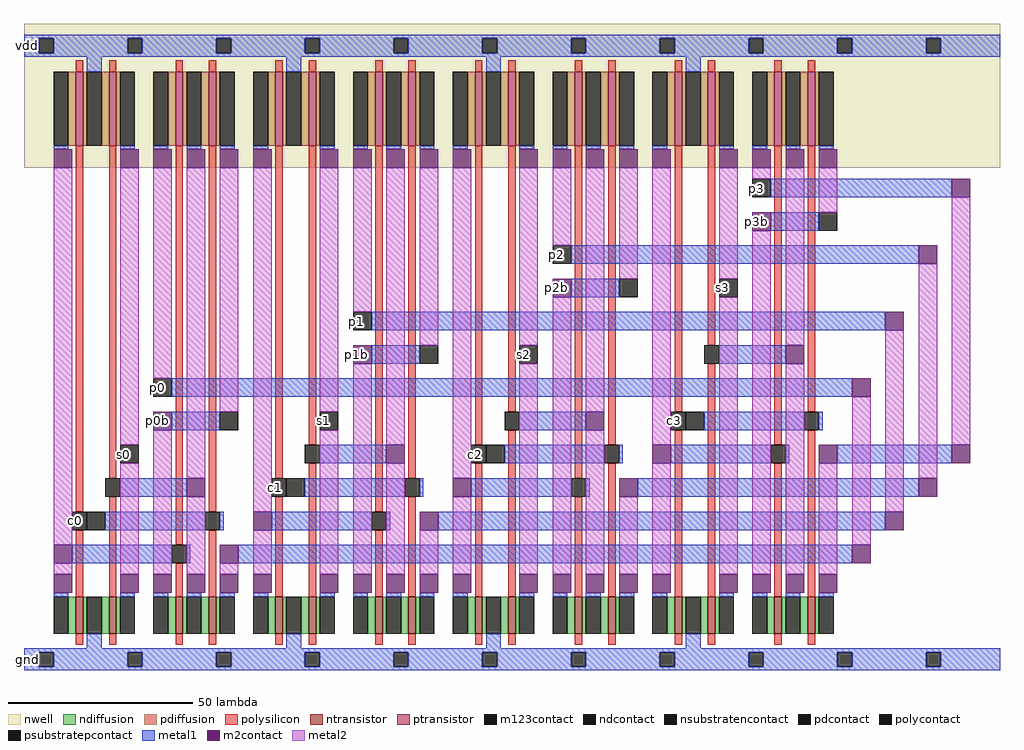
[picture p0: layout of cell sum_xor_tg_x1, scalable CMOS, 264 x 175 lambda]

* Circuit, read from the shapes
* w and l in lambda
.subckt sum_xor_tg_x1 c0 c1 c2 c3 p0 p0b p1 p1b p2 p2b p3 p3b s0 s1 s2 s3 vdd gnd
M1 gnd c0 n1 gnd nfet w=10 l=2
M2 s0 n2 gnd gnd nfet w=10 l=2
M3 n2 n1 p0b gnd nfet w=10 l=2
M4 p0 c0 n2 gnd nfet w=10 l=2
M5 gnd c1 n3 gnd nfet w=10 l=2
M6 s1 n4 gnd gnd nfet w=10 l=2
M7 n4 n3 p1b gnd nfet w=10 l=2
M8 p1 c1 n4 gnd nfet w=10 l=2
M9 gnd c2 n5 gnd nfet w=10 l=2
M10 s2 n6 gnd gnd nfet w=10 l=2
M11 n6 n5 p2b gnd nfet w=10 l=2
M12 p2 c2 n6 gnd nfet w=10 l=2
M13 gnd c3 n7 gnd nfet w=10 l=2
M14 s3 n8 gnd gnd nfet w=10 l=2
M15 n8 n7 p3b gnd nfet w=10 l=2
M16 p3 c3 n8 gnd nfet w=10 l=2
M17 vdd c0 n1 vdd pfet w=20 l=2
M18 s0 n2 vdd vdd pfet w=20 l=2
M19 n2 n1 p0 vdd pfet w=20 l=2
M20 p0b c0 n2 vdd pfet w=20 l=2
M21 vdd c1 n3 vdd pfet w=20 l=2
M22 s1 n4 vdd vdd pfet w=20 l=2
M23 n4 n3 p1 vdd pfet w=20 l=2
M24 p1b c1 n4 vdd pfet w=20 l=2
M25 vdd c2 n5 vdd pfet w=20 l=2
M26 s2 n6 vdd vdd pfet w=20 l=2
M27 n6 n5 p2 vdd pfet w=20 l=2
M28 p2b c2 n6 vdd pfet w=20 l=2
M29 vdd c3 n7 vdd pfet w=20 l=2
M30 s3 n8 vdd vdd pfet w=20 l=2
M31 n8 n7 p3 vdd pfet w=20 l=2
M32 p3b c3 n8 vdd pfet w=20 l=2
.ends

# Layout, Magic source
magic
tech scmos
<< nwell >>
rect 0 136 264 175
<< ntransistor >>
rect 14 10 16 20
rect 23 10 25 20
rect 41 10 43 20
rect 50 10 52 20
rect 68 10 70 20
rect 77 10 79 20
rect 95 10 97 20
rect 104 10 106 20
rect 122 10 124 20
rect 131 10 133 20
rect 149 10 151 20
rect 158 10 160 20
rect 176 10 178 20
rect 185 10 187 20
rect 203 10 205 20
rect 212 10 214 20
<< ptransistor >>
rect 14 142 16 162
rect 23 142 25 162
rect 41 142 43 162
rect 50 142 52 162
rect 68 142 70 162
rect 77 142 79 162
rect 95 142 97 162
rect 104 142 106 162
rect 122 142 124 162
rect 131 142 133 162
rect 149 142 151 162
rect 158 142 160 162
rect 176 142 178 162
rect 185 142 187 162
rect 203 142 205 162
rect 212 142 214 162
<< ndiffusion >>
rect 12 10 14 20
rect 16 10 17 20
rect 21 10 23 20
rect 25 10 26 20
rect 39 10 41 20
rect 43 10 44 20
rect 48 10 50 20
rect 52 10 53 20
rect 66 10 68 20
rect 70 10 71 20
rect 75 10 77 20
rect 79 10 80 20
rect 93 10 95 20
rect 97 10 98 20
rect 102 10 104 20
rect 106 10 107 20
rect 120 10 122 20
rect 124 10 125 20
rect 129 10 131 20
rect 133 10 134 20
rect 147 10 149 20
rect 151 10 152 20
rect 156 10 158 20
rect 160 10 161 20
rect 174 10 176 20
rect 178 10 179 20
rect 183 10 185 20
rect 187 10 188 20
rect 201 10 203 20
rect 205 10 206 20
rect 210 10 212 20
rect 214 10 215 20
<< pdiffusion >>
rect 12 142 14 162
rect 16 142 17 162
rect 21 142 23 162
rect 25 142 26 162
rect 39 142 41 162
rect 43 142 44 162
rect 48 142 50 162
rect 52 142 53 162
rect 66 142 68 162
rect 70 142 71 162
rect 75 142 77 162
rect 79 142 80 162
rect 93 142 95 162
rect 97 142 98 162
rect 102 142 104 162
rect 106 142 107 162
rect 120 142 122 162
rect 124 142 125 162
rect 129 142 131 162
rect 133 142 134 162
rect 147 142 149 162
rect 151 142 152 162
rect 156 142 158 162
rect 160 142 161 162
rect 174 142 176 162
rect 178 142 179 162
rect 183 142 185 162
rect 187 142 188 162
rect 201 142 203 162
rect 205 142 206 162
rect 210 142 212 162
rect 214 142 215 162
<< ndcontact >>
rect 8 10 12 20
rect 17 10 21 20
rect 26 10 30 20
rect 35 10 39 20
rect 44 10 48 20
rect 53 10 57 20
rect 62 10 66 20
rect 71 10 75 20
rect 80 10 84 20
rect 89 10 93 20
rect 98 10 102 20
rect 107 10 111 20
rect 116 10 120 20
rect 125 10 129 20
rect 134 10 138 20
rect 143 10 147 20
rect 152 10 156 20
rect 161 10 165 20
rect 170 10 174 20
rect 179 10 183 20
rect 188 10 192 20
rect 197 10 201 20
rect 206 10 210 20
rect 215 10 219 20
<< pdcontact >>
rect 8 142 12 162
rect 17 142 21 162
rect 26 142 30 162
rect 35 142 39 162
rect 44 142 48 162
rect 53 142 57 162
rect 62 142 66 162
rect 71 142 75 162
rect 80 142 84 162
rect 89 142 93 162
rect 98 142 102 162
rect 107 142 111 162
rect 116 142 120 162
rect 125 142 129 162
rect 134 142 138 162
rect 143 142 147 162
rect 152 142 156 162
rect 161 142 165 162
rect 170 142 174 162
rect 179 142 183 162
rect 188 142 192 162
rect 197 142 201 162
rect 206 142 210 162
rect 215 142 219 162
<< psubstratepcontact >>
rect 4 1 8 5
rect 28 1 32 5
rect 52 1 56 5
rect 76 1 80 5
rect 100 1 104 5
rect 124 1 128 5
rect 148 1 152 5
rect 172 1 176 5
rect 196 1 200 5
rect 220 1 224 5
rect 244 1 248 5
<< nsubstratencontact >>
rect 4 167 8 171
rect 28 167 32 171
rect 52 167 56 171
rect 76 167 80 171
rect 100 167 104 171
rect 124 167 128 171
rect 148 167 152 171
rect 172 167 176 171
rect 196 167 200 171
rect 220 167 224 171
rect 244 167 248 171
<< polysilicon >>
rect 14 162 16 165
rect 23 162 25 165
rect 41 162 43 165
rect 50 162 52 165
rect 68 162 70 165
rect 77 162 79 165
rect 95 162 97 165
rect 104 162 106 165
rect 122 162 124 165
rect 131 162 133 165
rect 149 162 151 165
rect 158 162 160 165
rect 176 162 178 165
rect 185 162 187 165
rect 203 162 205 165
rect 212 162 214 165
rect 14 43 16 142
rect 23 52 25 142
rect 14 20 16 38
rect 23 20 25 47
rect 41 34 43 142
rect 50 43 52 142
rect 68 52 70 142
rect 77 61 79 142
rect 41 20 43 29
rect 50 20 52 38
rect 68 20 70 47
rect 77 20 79 56
rect 95 43 97 142
rect 104 52 106 142
rect 122 61 124 142
rect 131 70 133 142
rect 95 20 97 38
rect 104 20 106 47
rect 122 20 124 56
rect 131 20 133 65
rect 149 52 151 142
rect 158 61 160 142
rect 176 70 178 142
rect 185 88 187 142
rect 149 20 151 47
rect 158 20 160 56
rect 176 20 178 65
rect 185 20 187 83
rect 203 61 205 142
rect 212 70 214 142
rect 203 20 205 56
rect 212 20 214 65
rect 14 7 16 10
rect 23 7 25 10
rect 41 7 43 10
rect 50 7 52 10
rect 68 7 70 10
rect 77 7 79 10
rect 95 7 97 10
rect 104 7 106 10
rect 122 7 124 10
rect 131 7 133 10
rect 149 7 151 10
rect 158 7 160 10
rect 176 7 178 10
rect 185 7 187 10
rect 203 7 205 10
rect 212 7 214 10
<< polycontact >>
rect 22 47 26 52
rect 13 38 17 43
rect 76 56 80 61
rect 67 47 71 52
rect 49 38 53 43
rect 40 29 44 34
rect 130 65 134 70
rect 121 56 125 61
rect 103 47 107 52
rect 94 38 98 43
rect 184 83 188 88
rect 175 65 179 70
rect 157 56 161 61
rect 148 47 152 52
rect 211 65 215 70
rect 202 56 206 61
<< metal1 >>
rect 0 171 264 172
rect 0 167 4 171
rect 8 167 28 171
rect 32 167 52 171
rect 56 167 76 171
rect 80 167 100 171
rect 104 167 124 171
rect 128 167 148 171
rect 152 167 172 171
rect 176 167 196 171
rect 200 167 220 171
rect 224 167 244 171
rect 248 167 264 171
rect 0 166 264 167
rect 17 162 21 166
rect 71 162 75 166
rect 125 162 129 166
rect 179 162 183 166
rect 8 141 12 142
rect 26 141 30 142
rect 35 141 39 142
rect 44 141 48 142
rect 53 141 57 142
rect 62 141 66 142
rect 80 141 84 142
rect 89 141 93 142
rect 98 141 102 142
rect 107 141 111 142
rect 116 141 120 142
rect 134 141 138 142
rect 143 141 147 142
rect 152 141 156 142
rect 161 141 165 142
rect 170 141 174 142
rect 188 141 192 142
rect 197 141 201 142
rect 206 141 210 142
rect 215 141 219 142
rect 202 128 251 133
rect 202 119 215 124
rect 148 110 242 115
rect 148 101 161 106
rect 94 92 233 97
rect 94 83 107 88
rect 188 83 206 88
rect 40 74 224 79
rect 40 65 53 70
rect 134 65 152 70
rect 184 65 211 70
rect 215 65 216 70
rect 80 56 98 61
rect 130 56 157 61
rect 161 56 162 61
rect 175 56 202 61
rect 206 56 207 61
rect 220 56 251 61
rect 26 47 44 52
rect 76 47 103 52
rect 107 47 108 52
rect 121 47 148 52
rect 152 47 153 52
rect 166 47 242 52
rect 22 38 49 43
rect 53 38 54 43
rect 67 38 94 43
rect 98 38 99 43
rect 112 38 233 43
rect 13 29 40 34
rect 44 29 45 34
rect 58 29 224 34
rect 8 20 12 21
rect 26 20 30 21
rect 35 20 39 21
rect 44 20 48 21
rect 53 20 57 21
rect 62 20 66 21
rect 80 20 84 21
rect 89 20 93 21
rect 98 20 102 21
rect 107 20 111 21
rect 116 20 120 21
rect 134 20 138 21
rect 143 20 147 21
rect 152 20 156 21
rect 161 20 165 21
rect 170 20 174 21
rect 188 20 192 21
rect 197 20 201 21
rect 206 20 210 21
rect 215 20 219 21
rect 17 6 21 10
rect 71 6 75 10
rect 125 6 129 10
rect 179 6 183 10
rect 0 5 264 6
rect 0 1 4 5
rect 8 1 28 5
rect 32 1 52 5
rect 56 1 76 5
rect 80 1 100 5
rect 104 1 124 5
rect 128 1 148 5
rect 152 1 172 5
rect 176 1 196 5
rect 200 1 220 5
rect 224 1 244 5
rect 248 1 264 5
rect 0 0 264 1
<< m2contact >>
rect 8 136 13 141
rect 26 136 31 141
rect 35 136 40 141
rect 44 136 49 141
rect 53 136 58 141
rect 62 136 67 141
rect 80 136 85 141
rect 89 136 94 141
rect 98 136 103 141
rect 107 136 112 141
rect 116 136 121 141
rect 134 136 139 141
rect 143 136 148 141
rect 152 136 157 141
rect 161 136 166 141
rect 170 136 175 141
rect 188 136 193 141
rect 197 136 202 141
rect 206 136 211 141
rect 215 136 220 141
rect 251 128 256 133
rect 197 119 202 124
rect 242 110 247 115
rect 143 101 148 106
rect 233 92 238 97
rect 89 83 94 88
rect 206 83 211 88
rect 224 74 229 79
rect 35 65 40 70
rect 152 65 157 70
rect 98 56 103 61
rect 170 56 175 61
rect 215 56 220 61
rect 251 56 256 61
rect 44 47 49 52
rect 116 47 121 52
rect 161 47 166 52
rect 242 47 247 52
rect 62 38 67 43
rect 107 38 112 43
rect 233 38 238 43
rect 8 29 13 34
rect 53 29 58 34
rect 224 29 229 34
rect 8 21 13 26
rect 26 21 31 26
rect 35 21 40 26
rect 44 21 49 26
rect 53 21 58 26
rect 62 21 67 26
rect 80 21 85 26
rect 89 21 94 26
rect 98 21 103 26
rect 107 21 112 26
rect 116 21 121 26
rect 134 21 139 26
rect 143 21 148 26
rect 152 21 157 26
rect 161 21 166 26
rect 170 21 175 26
rect 188 21 193 26
rect 197 21 202 26
rect 206 21 211 26
rect 215 21 220 26
<< metal2 >>
rect 8 34 13 136
rect 26 61 31 136
rect 35 79 40 136
rect 8 26 13 29
rect 26 26 31 56
rect 35 26 40 65
rect 44 52 49 136
rect 53 70 58 136
rect 44 26 49 47
rect 62 43 67 136
rect 80 70 85 136
rect 89 97 94 136
rect 53 26 58 29
rect 62 26 67 38
rect 80 26 85 65
rect 89 26 94 83
rect 98 61 103 136
rect 107 88 112 136
rect 98 26 103 56
rect 116 52 121 136
rect 134 88 139 136
rect 143 115 148 136
rect 107 26 112 38
rect 116 26 121 47
rect 134 26 139 83
rect 143 26 148 101
rect 152 70 157 136
rect 161 106 166 136
rect 152 26 157 65
rect 170 61 175 136
rect 188 106 193 136
rect 197 133 202 136
rect 161 26 166 47
rect 170 26 175 56
rect 188 26 193 101
rect 197 26 202 119
rect 206 88 211 136
rect 215 124 220 136
rect 206 26 211 83
rect 215 26 220 56
rect 224 34 229 74
rect 233 43 238 92
rect 242 52 247 110
rect 251 61 256 128
<< m123contact >>
rect 35 74 40 79
rect 26 56 31 61
rect 17 38 22 43
rect 53 65 58 70
rect 89 92 94 97
rect 80 65 85 70
rect 71 47 76 52
rect 107 83 112 88
rect 143 110 148 115
rect 134 83 139 88
rect 125 56 130 61
rect 161 101 166 106
rect 197 128 202 133
rect 188 101 193 106
rect 179 65 184 70
rect 215 119 220 124
<< labels >>
rlabel metal1 13 38 15 43 0 c0
port 1 nsew
rlabel metal1 67 47 69 52 0 c1
port 2 nsew
rlabel metal1 121 56 123 61 0 c2
port 3 nsew
rlabel metal1 175 65 177 70 0 c3
port 4 nsew
rlabel metal1 35 74 37 79 0 p0
port 5 nsew
rlabel m2contact 35 65 37 70 0 p0b
port 6 nsew
rlabel metal1 89 92 91 97 0 p1
port 7 nsew
rlabel m2contact 89 83 91 88 0 p1b
port 8 nsew
rlabel metal1 143 110 145 115 0 p2
port 9 nsew
rlabel m2contact 143 101 145 106 0 p2b
port 10 nsew
rlabel metal1 197 128 199 133 0 p3
port 11 nsew
rlabel m2contact 197 119 199 124 0 p3b
port 12 nsew
rlabel metal1 26 56 28 61 0 s0
port 13 nsew
rlabel metal1 80 65 82 70 0 s1
port 14 nsew
rlabel metal1 134 83 136 88 0 s2
port 15 nsew
rlabel metal1 188 101 190 106 0 s3
port 16 nsew
rlabel metal1 0 166 2 172 0 vdd
port 17 nsew
rlabel metal1 0 0 2 6 0 gnd
port 18 nsew
<< end >>
